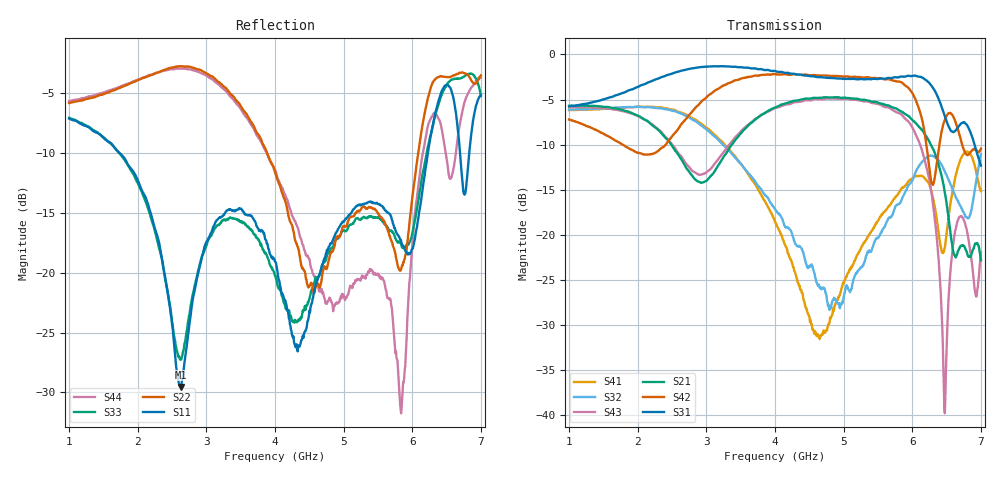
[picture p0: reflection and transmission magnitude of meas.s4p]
#  HZ  S  RI  R  50.00
! Rohde & Schwarz Vector Network Analyzer
! Rohde-Schwarz,ZNB8-4Port,1311601044101860,2.30
! Created: UTC 7/3/2026, 7:06:40 AM
! freq[Hz]  re:S11  im:S11  re:S12  im:S12  re:S13  im:S13  re:S14  im:S14
!  re:S21  im:S21  re:S22  im:S22  re:S23  im:S23  re:S24  im:S24
!  re:S31  im:S31  re:S32  im:S32  re:S33  im:S33  re:S34  im:S34
!  re:S41  im:S41  re:S42  im:S42  re:S43  im:S43  re:S44  im:S44
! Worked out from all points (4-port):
!   801 points, 1 GHz to 7 GHz, reference 50 ohm
!   strongest paths, dB at 1 GHz, 2.5 GHz, 4 GHz, 5.5 GHz, 7 GHz:
!     S31: -5.8, -2.1, -1.8, -2.7, -12.3
!     S42: -7.2, -9.1, -2.2, -2.6, -10.4
!     S21: -5.7, -10.1, -5.9, -5.3, -22.8
!     S43: -5.9, -10.0, -5.9, -5.5, -21.9
!     S32: -6.1, -6.2, -17.1, -20.3, -11.0
!     S41: -6.2, -6.1, -18.5, -18.4, -15.1
!   lowest |S11| = -29.5 dB at 2.627 GHz (marker M1), VSWR 1.07, Z = 52.3 - j2.5 ohm
!   |S11| at or under -10 dB: 1.734 GHz to 6.228 GHz (4.495 GHz wide, 113 % of centre); 6.696 GHz to 6.831 GHz (135 MHz wide, 2 % of centre)
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1e9  0.1826 0.4008  0.0682 -0.5149  -0.1041 -0.5055  -0.173 -0.4617
     0.0691 -0.5153  0.0883 0.504  -0.1725 -0.4652  0.0218 -0.4365
     -0.1035 -0.5042  -0.1725 -0.4642  0.1848 0.4034  0.0725 -0.504
     -0.173 -0.461  0.0217 -0.4357  0.0741 -0.5043  0.0776 0.5156
2.6275e9  0.0233 -0.0239  -0.1707 0.2037  0.1658 0.7939  0.321 0.3499
          -0.1679 0.2047  0.1085 -0.7209  0.3198 0.3443  -0.397 -0.0743
          0.166 0.7931  0.316 0.3488  0.0311 -0.0305  -0.1901 0.1982
          0.3252 0.3492  -0.4002 -0.0774  -0.1907 0.1975  0.1889 -0.6864
3.895e9  -0.0767 -0.1052  0.1216 0.4718  0.074 -0.8131  -0.1027 -0.1011
         0.113 0.4724  -0.2455 0.1905  -0.0814 -0.1392  0.3617 0.6812
         0.0762 -0.8181  -0.0813 -0.1386  -0.0691 -0.0916  0.1339 0.4643
         -0.1005 -0.1031  0.3648 0.6819  0.1279 0.4637  -0.1907 0.2439
4.7575e9  -0.0199 -0.1231  0.5563 -0.1631  -0.7377 0.104  0.0273 0.0121
          0.5572 -0.16  -0.103 0.0165  -0.00386 0.0428  0.6954 -0.317
          -0.7353 0.1052  -0.00509 0.0429  -0.0502 -0.1071  0.5436 -0.1658
          0.027 0.0124  0.6952 -0.3173  0.5477 -0.1626  0.0486 -0.0561
5.8375e9  -0.1348 0.0152  -0.3638 -0.3128  0.5951 0.4641  -0.1364 -0.1149
          -0.365 -0.3171  0.0946 0.0419  -0.0522 -0.1466  -0.5683 -0.414
          0.5959 0.4631  -0.0544 -0.144  -0.1323 0.00558  -0.3972 -0.2415
          -0.1369 -0.1163  -0.5654 -0.4172  -0.3963 -0.2454  0.0247 0.00761
6.4675e9  -0.562 0.2094  -0.1129 0.1367  0.196 -0.4206  -0.0751 0.0322
          -0.1103 0.1397  -0.6443 0.1345  -0.1523 0.1714  -0.4112 -0.0731
          0.195 -0.4213  -0.1524 0.1693  -0.5504 0.2029  0.00935 0.00329
          -0.0772 0.0303  -0.4188 -0.0914  0.00995 0.0048  0.2158 0.2674
7e9  -0.3198 0.4508  -0.0589 0.0459  -0.0884 -0.2237  -0.00459 0.176
     -0.0568 0.0449  -0.2737 0.6078  -0.172 0.2148  -0.264 0.1316
     -0.0862 -0.2265  -0.1799 0.2151  0.2525 0.4859  -0.0242 -0.0773
     -0.00255 0.175  -0.2662 0.1393  -0.0236 -0.0771  -0.3176 0.5699
